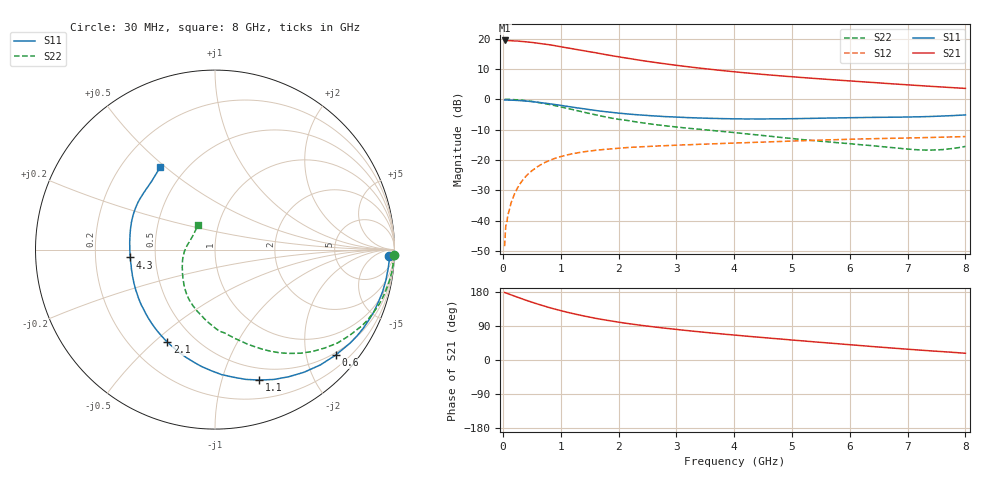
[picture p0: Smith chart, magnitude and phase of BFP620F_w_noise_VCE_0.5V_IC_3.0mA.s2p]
! Infineon Technologies  Discrete & RF Semiconductors
! BFP620F
! VCE =  0.5 V,  IC =  3.0 mA
! Common Emitter S-Parameters:  Dec 2014
# GHz  S  MA  R  50
!  f  S11  S21  S12  S22
! GHz  MAG  ANG  MAG  ANG  MAG  ANG  MAG  ANG
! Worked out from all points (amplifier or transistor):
!   95 points, 30 MHz to 8 GHz, reference 50 ohm
!   highest |S21| = 19.4 dB at 30 MHz (marker M1)
!   |S21| within 3 dB of that: start of sweep to 1.282 GHz
!   unconditionally stable (mu >= 1): 5.981 GHz to end of sweep
!   at 300 MHz: K = 0.04, MSG = 23.4 dB, |S12| = -27.7 dB
!   at 3.3 GHz: K = 0.70, MSG = 12.7 dB, |S12| = -14.9 dB
!   at 8 GHz: K = 1.17, MAG = 5.5 dB, |S12| = -12.3 dB
!   lowest NFmin = 0.51 dB at 450 MHz
!   S11 on the Smith chart (normalised r, x): 30 MHz: 27, -34; 600 MHz: 0.45, -2.59; 1.1 GHz: 0.37, -1.33; 2.1 GHz: 0.36, -0.55; 4.3 GHz: 0.36, -0.04; 8 GHz: 0.36, +0.48
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0.03  0.9716 -2.1  9.314 178.1  0.0038 92.9  0.9964 -1.7
0.04  0.9721 -2.8  9.211 177.5  0.0056 83.2  0.9969 -2.3
0.05  0.9723 -3.6  9.237 177.0  0.0082 89.6  0.9954 -2.8
0.09  0.97 -6.4  9.279 174.8  0.0127 90.3  0.9962 -5.0
0.2  0.9629 -14.1  9.133 168.7  0.0274 81.1  0.9847 -11.2
0.25  0.9563 -17.6  9.121 165.8  0.0342 80.0  0.9779 -13.9
0.4  0.9351 -28.0  8.854 157.8  0.0541 74.1  0.9475 -22.1
0.6  0.8928 -41.2  8.401 147.7  0.0776 66.2  0.8902 -32.4
0.8  0.8444 -54.0  7.924 138.5  0.0977 58.9  0.8228 -41.7
0.9  0.8189 -59.9  7.642 134.3  0.1063 55.7  0.7859 -46.2
1.1  0.7679 -71.2  7.065 126.5  0.1204 49.9  0.7124 -54.3
1.4  0.6974 -87.0  6.31 116.2  0.1363 43.0  0.6133 -64.7
1.7  0.6363 -101.1  5.615 107.4  0.1473 37.8  0.5292 -74.3
2.1  0.5801 -117.3  4.832 97.6  0.1589 32.3  0.4554 -86.8
2.4  0.5495 -127.7  4.355 91.3  0.1651 29.2  0.4112 -94.5
2.7  0.5261 -137.0  3.959 85.8  0.1705 26.8  0.3761 -101.5
3.3  0.4956 -153.0  3.348 75.9  0.1794 23.0  0.3267 -113.8
4.1  0.4753 -170.8  2.782 64.5  0.1914 19.2  0.2769 -127.0
4.3  0.4747 -174.7  2.672 61.8  0.1943 18.4  0.2643 -130.6
5.4  0.4859 165.0  2.202 47.7  0.211 13.7  0.2079 -151.4
6.7  0.506 143.7  1.807 32.0  0.2272 7.8  0.1609 175.2
8  0.552 123.7  1.51 17.8  0.2429 2.5  0.1671 124.7
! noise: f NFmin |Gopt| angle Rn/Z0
0.45  0.51  0.54  10  0.3
0.9  0.6  0.52  20  0.26
1.5  0.69  0.47  29  0.25
1.8  0.73  0.45  32  0.25
1.9  0.74  0.4  43  0.26
2.4  0.81  0.37  57  0.24
3.5  0.96  0.35  80  0.18
5.5  1.2  0.23  149  0.15
6  1.26  0.19  163  0.29
